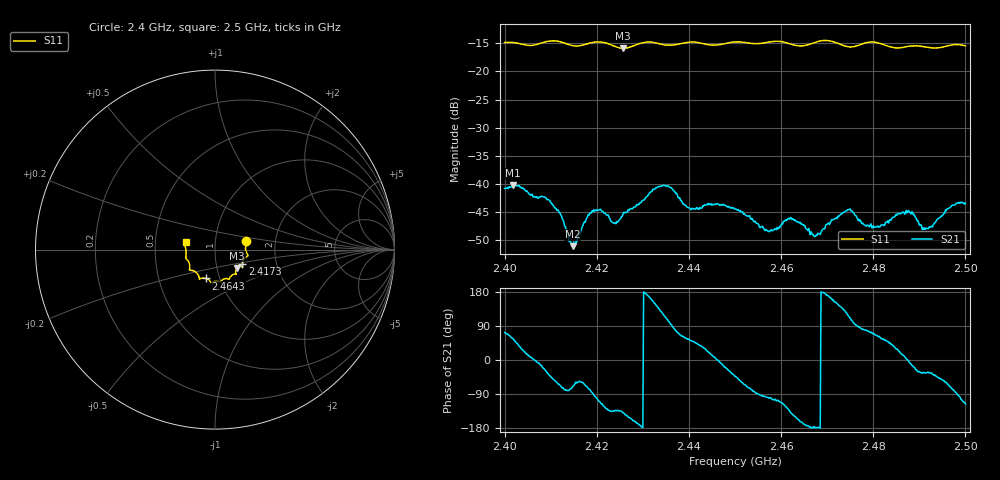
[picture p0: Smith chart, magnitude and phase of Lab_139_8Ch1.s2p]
# Hz S RI R 50
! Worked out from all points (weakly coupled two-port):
!   601 points, 2.4 GHz to 2.5 GHz, reference 50 ohm
!   highest |S21| = -40.21 dB at 2.4018 GHz (marker M1); lowest = -51.1 dB at 2.4148 GHz (marker M2)
!   lowest |S11| = -15.9 dB at 2.4257 GHz (marker M3), VSWR 1.38, Z = 62.5 - j13.2 ohm
!   |S11| at or under -10 dB: start of sweep to end of sweep
!   S12 and S22 are empty: the file has one direction only
!   S11 on the Smith chart (normalised r, x): 2.4 GHz: 1.41, +0.14; 2.4173 GHz: 1.34, -0.23; 2.4643 GHz: 0.86, -0.29; 2.5 GHz: 0.72, +0.06
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2.4e9  0.1736 0.0491  0.00277 0.00869  0 0  0 0
2.401833e9  0.1758 0.0414  0.00545 0.00809  0 0  0 0
2.409833e9  0.1833 -0.0319  0.00529 -0.00471  0 0  0 0
2.414833e9  0.1604 -0.054  0.000968 -0.00263  0 0  0 0
2.416667e9  0.1529 -0.0744  0.00201 -0.00337  0 0  0 0
2.417333e9  0.1523 -0.0818  0.002 -0.00413  0 0  0 0
2.4195e9  0.1541 -0.0965  -0.000543 -0.0057  0 0  0 0
2.423667e9  0.1397 -0.0941  -0.00312 -0.00323  0 0  0 0
2.425667e9  0.1229 -0.1025  -0.00407 -0.0035  0 0  0 0
2.433333e9  0.1126 -0.1364  -0.00702 0.00629  0 0  0 0
2.435833e9  0.0961 -0.1413  -0.00138 0.00923  0 0  0 0
2.440167e9  0.0795 -0.164  0.00373 0.00481  0 0  0 0
2.45e9  0.0291 -0.1807  0.00433 -0.00411  0 0  0 0
2.457e9  -0.0135 -0.1808  -0.000567 -0.00378  0 0  0 0
2.464333e9  -0.05 -0.1609  -0.00422 -0.00124  0 0  0 0
2.466667e9  -0.0759 -0.1596  -0.00364 -2.95e-05  0 0  0 0
2.4745e9  -0.1017 -0.131  -0.0028 0.00521  0 0  0 0
2.478667e9  -0.1391 -0.1153  0.000931 0.0042  0 0  0 0
2.483333e9  -0.1405 -0.09  0.00301 0.00334  0 0  0 0
2.488e9  -0.1603 -0.0509  0.00551 -0.000874  0 0  0 0
2.4915e9  -0.1616 -0.0302  0.00337 -0.00222  0 0  0 0
2.5e9  -0.1633 0.0419  -0.00298 -0.00605  0 0  0 0
